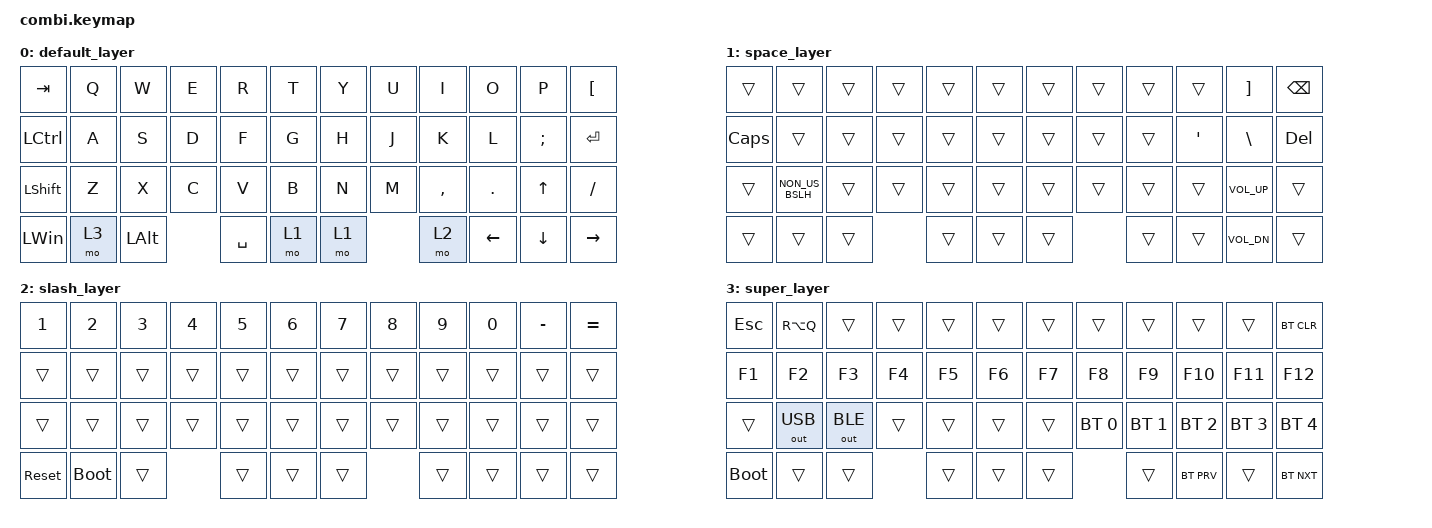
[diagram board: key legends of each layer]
#include <behaviors.dtsi>
#include <dt-bindings/zmk/bt.h>
#include <dt-bindings/zmk/keys.h>
#include <dt-bindings/zmk/outputs.h>

/ {
    keymap {
        compatible = "zmk,keymap";

        default_layer {
            // -------------------------------------------------------------------------------
            // | ESC  |  Q  |  W  |  E  |  R  |  T  |  Y  |  U  |  I  |  O  |  P  |  BKSPC   |
            // | CAPS  |  A  |  S  |  D  |  F  |  G  |  H  |  J  |  K  |  L  |  ;  |  ENTER  |
            // |  SHIFT  |  Z  |  X  |  C  |  V  |  B  |  N  |  M  |  ,   |  .   |  ^  |  /  |
            // |  CTL   |  WIN   |  ALT  |            SPACE               |  <-  |  v  | ->  |
            // -------------------------------------------------------------------------------

            bindings = <
&kp TAB    &kp Q  &kp W     &kp E  &kp R      &kp T  &kp Y  &kp U  &kp I      &kp O     &kp P     &kp LBKT
&kp LCTRL  &kp A  &kp S     &kp D  &kp F      &kp G  &kp H  &kp J  &kp K      &kp L     &kp SEMI  &kp RET
&kp LSHFT  &kp Z  &kp X     &kp C  &kp V      &kp B  &kp N  &kp M  &kp COMMA  &kp DOT   &kp UP    &kp SLASH
&kp LWIN   &mo 3  &kp LALT         &kp SPACE  &mo 1  &mo 1         &mo 2      &kp LEFT  &kp DOWN  &kp RIGHT
            >;
        };

        space_layer {
            bindings = <
&trans    &trans           &trans  &trans  &trans  &trans  &trans  &trans  &trans  &trans   &kp RBKT      &kp BSPC
&kp CLCK  &trans           &trans  &trans  &trans  &trans  &trans  &trans  &trans  &kp SQT  &kp BSLH      &kp DEL
&trans    &kp NON_US_BSLH  &trans  &trans  &trans  &trans  &trans  &trans  &trans  &trans   &kp C_VOL_UP  &trans
&trans    &trans           &trans          &trans  &trans  &trans          &trans  &trans   &kp C_VOL_DN  &trans
            >;
        };

        slash_layer {
            bindings = <
&kp N1      &kp N2       &kp N3  &kp N4  &kp N5  &kp N6  &kp N7  &kp N8  &kp N9  &kp N0  &kp MINUS  &kp EQUAL
&trans      &trans       &trans  &trans  &trans  &trans  &trans  &trans  &trans  &trans  &trans     &trans
&trans      &trans       &trans  &trans  &trans  &trans  &trans  &trans  &trans  &trans  &trans     &trans
&sys_reset  &bootloader  &trans          &trans  &trans  &trans          &trans  &trans  &trans     &trans
            >;
        };

        super_layer {
            bindings = <
&kp ESC      &kp RA(Q)     &trans        &trans  &trans  &trans  &trans  &trans        &trans        &trans        &trans        &bt BT_CLR
&kp F1       &kp F2        &kp F3        &kp F4  &kp F5  &kp F6  &kp F7  &kp F8        &kp F9        &kp F10       &kp F11       &kp F12
&trans       &out OUT_USB  &out OUT_BLE  &trans  &trans  &trans  &trans  &bt BT_SEL 0  &bt BT_SEL 1  &bt BT_SEL 2  &bt BT_SEL 3  &bt BT_SEL 4
&bootloader  &trans        &trans                &trans  &trans  &trans                &trans        &bt BT_PRV    &trans        &bt BT_NXT
            >;
        };
    };
};
